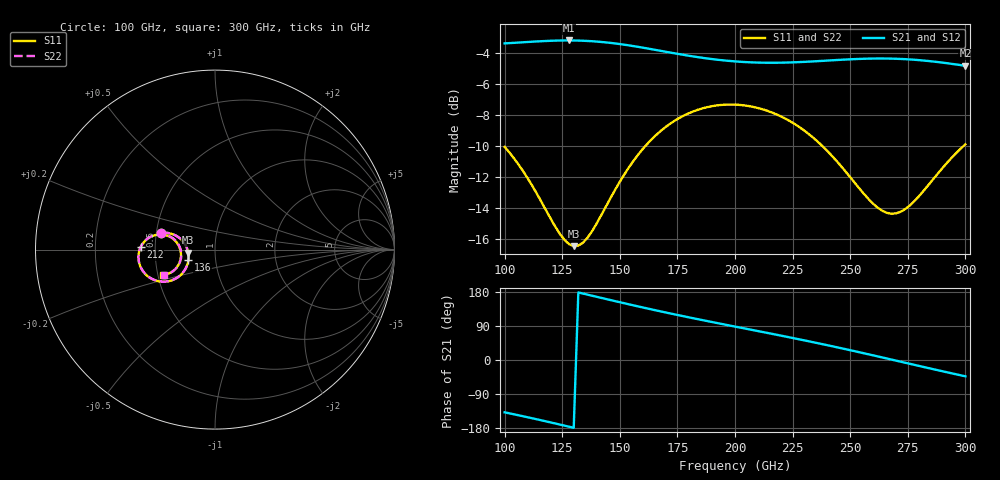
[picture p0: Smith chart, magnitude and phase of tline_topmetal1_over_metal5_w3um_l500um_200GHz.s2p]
#  GHZ S DB R 50
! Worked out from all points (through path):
!   101 points, 100 GHz to 300 GHz, reference 50 ohm
!   highest |S21| = -3.21 dB at 128 GHz (marker M1); lowest = -4.8 dB at 300 GHz (marker M2)
!   group delay of S21, straight-line fit = 3.62 ps
!   lowest |S11| = -16.5 dB at 130 GHz (marker M3), VSWR 1.35, Z = 37 - j1.31 ohm
!   |S11| at or under -10 dB: start of sweep to 161.2 GHz; 237.8 GHz to 299.2 GHz (61.41 GHz wide, 22.9 % of centre)
!   |S22| runs from -16.5 to -7.3 dB; largest |S21 - S12| = 7e-14
!   S11 on the Smith chart (normalised r, x): 100 GHz: 0.53, +0.11; 136 GHz: 0.74, -0.09; 212 GHz: 0.41, +0.01; 300 GHz: 0.54, -0.17
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100  -10.06 162.8  -3.40 -138.1  -3.40 -138.1  -10.07 162.8
116  -13.61 161.9  -3.25 -159.2  -3.25 -159.2  -13.62 161.8
124  -15.68 172.2  -3.21 -170.4  -3.21 -170.4  -15.68 172.1
128  -16.34 -178.7  -3.21 -176.0  -3.21 -176.0  -16.34 -178.7
130  -16.47 -173.4  -3.21 -178.9  -3.21 -178.9  -16.47 -173.5
134  -16.24 -162.8  -3.23 175.4  -3.23 175.4  -16.24 -162.9
136  -15.92 -158.1  -3.24 172.5  -3.24 172.5  -15.92 -158.2
144  -13.90 -146.1  -3.33 161.0  -3.33 161.0  -13.90 -146.2
154  -11.38 -143.5  -3.53 146.9  -3.53 146.9  -11.38 -143.6
168  -9.01 -149.9  -3.88 127.9  -3.88 127.9  -9.01 -150.0
184  -7.67 -161.3  -4.28 107.6  -4.28 107.6  -7.68 -161.5
200  -7.34 -173.2  -4.56 88.2  -4.56 88.2  -7.35 -173.5
212  -7.64 178.2  -4.64 73.9  -4.64 73.9  -7.66 178.0
224  -8.42 170.7  -4.62 59.3  -4.62 59.3  -8.44 170.3
234  -9.48 165.8  -4.56 46.8  -4.56 46.8  -9.51 165.5
252  -12.38 165.7  -4.41 23.2  -4.41 23.2  -12.44 165.3
262  -13.99 175.5  -4.37 9.4  -4.37 9.4  -14.08 175.3
268  -14.37 -174.9  -4.38 1.0  -4.38 1.0  -14.47 -175.1
274  -14.07 -165.2  -4.41 -7.4  -4.41 -7.4  -14.15 -165.2
282  -12.87 -156.2  -4.50 -18.6  -4.50 -18.6  -12.93 -156.1
292  -11.10 -152.6  -4.67 -32.4  -4.67 -32.4  -11.14 -152.5
300  -9.90 -153.7  -4.84 -43.1  -4.84 -43.1  -9.92 -153.7
